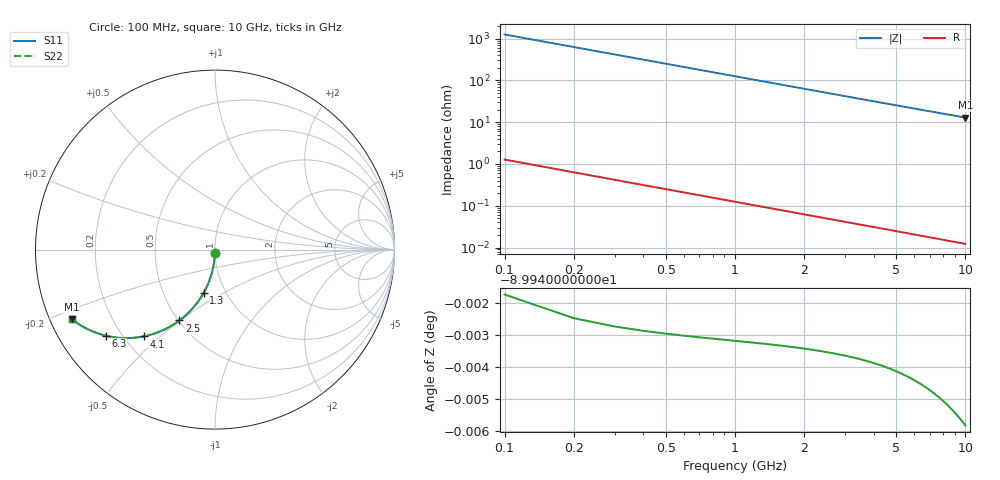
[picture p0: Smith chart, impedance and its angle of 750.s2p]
# Hz S RI R 50.00
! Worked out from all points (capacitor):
!   100 points, 100 MHz to 10 GHz, reference 50 ohm
!   read as one part in shunt: C = 1.27 pF near 100 MHz
!   lowest |Z| = 12.9 ohm at 10 GHz (marker M1)
!   S11 on the Smith chart (normalised r, x): 100 MHz: 1.00, -0.04; 1.3 GHz: 0.79, -0.41; 2.5 GHz: 0.51, -0.50; 4.1 GHz: 0.28, -0.44; 6.3 GHz: 0.14, -0.34; 10 GHz: 0.06, -0.23
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1e8  -0.000395 -0.0198  0.9996 -0.02  0.9996 -0.02  -0.000395 -0.0198
2e8  -0.0016 -0.0395  0.9984 -0.04  0.9984 -0.04  -0.0016 -0.0395
3e8  -0.00358 -0.0591  0.9964 -0.0598  0.9964 -0.0598  -0.00358 -0.0591
4e8  -0.00634 -0.0785  0.9936 -0.0795  0.9936 -0.0795  -0.00634 -0.0785
5e8  -0.00986 -0.0978  0.9901 -0.0991  0.9901 -0.0991  -0.00986 -0.0978
6e8  -0.0141 -0.1169  0.9858 -0.1184  0.9858 -0.1184  -0.0141 -0.1169
8e8  -0.0248 -0.1541  0.9752 -0.1561  0.9752 -0.1561  -0.0248 -0.1541
1e9  -0.0382 -0.1899  0.9618 -0.1924  0.9618 -0.1924  -0.0382 -0.1899
1.3e9  -0.0628 -0.2405  0.9372 -0.2437  0.9372 -0.2437  -0.0628 -0.2405
1.5e9  -0.0818 -0.2717  0.9181 -0.2755  0.9181 -0.2755  -0.0818 -0.2717
1.8e9  -0.1136 -0.3146  0.8863 -0.3191  0.8863 -0.3191  -0.1136 -0.3146
2.1e9  -0.1484 -0.3524  0.8515 -0.3577  0.8515 -0.3577  -0.1484 -0.3524
2.5e9  -0.1979 -0.3948  0.802 -0.4011  0.802 -0.4011  -0.1979 -0.3948
2.9e9  -0.2491 -0.4283  0.7508 -0.4357  0.7508 -0.4357  -0.2491 -0.4283
3.4e9  -0.313 -0.4589  0.6869 -0.4676  0.6869 -0.4676  -0.313 -0.4589
4.1e9  -0.3982 -0.4838  0.6017 -0.4943  0.6017 -0.4943  -0.3982 -0.4838
5.1e9  -0.5056 -0.4929  0.4943 -0.5061  0.4943 -0.5061  -0.5056 -0.4929
6.3e9  -0.6092 -0.4792  0.3906 -0.4956  0.3906 -0.4956  -0.6092 -0.4792
6.7e9  -0.6381 -0.4713  0.3617 -0.4888  0.3617 -0.4888  -0.6381 -0.4713
7.5e9  -0.6884 -0.4528  0.3114 -0.4724  0.3114 -0.4724  -0.6884 -0.4528
8.4e9  -0.7349 -0.4297  0.2649 -0.4519  0.2649 -0.4519  -0.7349 -0.4297
1e10  -0.7973 -0.3881  0.2023 -0.4147  0.2023 -0.4147  -0.7973 -0.3881
